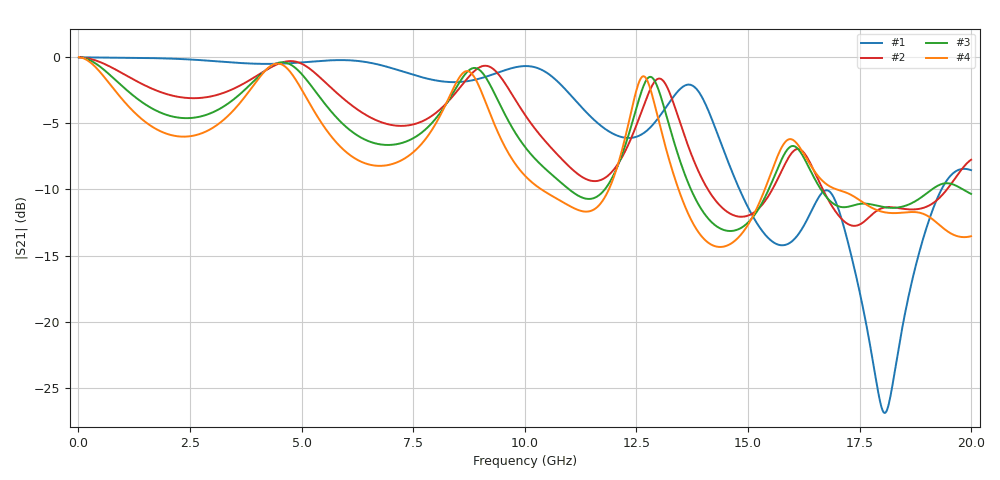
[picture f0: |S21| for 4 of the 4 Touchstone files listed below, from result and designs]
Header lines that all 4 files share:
! TOUCHSTONE file generated by CST MICROWAVE STUDIO
! Project name: Untitled_0.cst
! Parameters = {E4_4=4.4; E4_3=0.85; E4_2=9.925; E4_1=10.075; E3_4=4.25; E3_3=0.85; E3_2=9.7; E3_1=10.3; E2_4=0.85; E2_3=-0.85; E2_2=11.85; E2_1=8.15; y=0.017; x=0; Tr6=-2; Tr5=2; Tr4=11; Tr3=2; Tr2=15; Tr1=-5; g3=3; g2=2; g1=0.15; E1_4=1; E1_3=-1; E1_2=12; E1_1=8; SP3_2_6=3.5; SP3_2_5=3.5; SP3_2_4=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
! Header version: 2018
! Port assignment regex: !\s*Touchstone port\s*([0-9]+)\s*=\s*(CST MWS port|CST DS port)\s*([0-9]+|Zmin|Zmax)\s*\(\"(.*)\"\)(\s*mode\s*([0-9]+))?.*
! Touchstone port assignment:
! Touchstone port 1 = CST MWS port 1 ("")
! Touchstone port 2 = CST MWS port 2 ("")
# GHz S DB R 50
Fixed: E4_4 = 4.4, E4_3 = 0.85, E4_2 = 9.925, E4_1 = 10.075, E3_4 = 4.25, E3_3 = 0.85, E3_2 = 9.7, E3_1 = 10.3, E2_4 = 0.85, E2_3 = -0.85, E2_2 = 11.85, E2_1 = 8.15, y = 0.017, x = 0, Tr6 = -2, Tr5 = 2, Tr4 = 11, Tr3 = 2, Tr2 = 15, Tr1 = -5, g3 = 3, g2 = 2, g1 = 0.15, E1_4 = 1, E1_3 = -1, E1_2 = 12, E1_1 = 8, SP3_2_6 = 3.5, SP3_2_5 = 3.5, SP3_2_4 = 0.5, SP3_2_3 = 2, SP3_2_2 = 1, SP3_2_1 = 9.15, SP3_1_6 = 14.4, SP3_1_5 = 13.4, SP3_1_4 = 12.4, SP3_1_3 = 11.4, SP3_1_2 = 10.4, SP3_1_1 = 9.4, SP10_2 = 8.15
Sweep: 10 MHz to 20 GHz
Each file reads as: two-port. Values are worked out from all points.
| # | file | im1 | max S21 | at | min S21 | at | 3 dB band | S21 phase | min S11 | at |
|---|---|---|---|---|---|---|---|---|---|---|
| 1 | Untitled_0_1.s2p | 0 | 0.00 dB | 10 MHz | -26.9 dB | 18.06 GHz | 10 MHz-11.06 GHz | -144 deg at 9.98 GHz | -75.1 dB | 200 MHz |
| 2 | Untitled_0_3.s2p | 1.2 | 0.00 dB | 10 MHz | -12.8 dB | 17.38 GHz | 2.92 GHz-5.88 GHz | 142 deg at 9.98 GHz | -44.9 dB | 10 MHz |
| 3 | Untitled_0_4.s2p | 1.8 | 0.00 dB | 10 MHz | -13.1 dB | 14.6 GHz | 3.56 GHz-5.4 GHz | 126 deg at 9.98 GHz | -41.3 dB | 10 MHz |
| 4 | Untitled_0_5.s2p | 2.4 | 0.00 dB | 10 MHz | -14.3 dB | 14.38 GHz | 3.74 GHz-5.08 GHz | 117 deg at 9.98 GHz | -39.2 dB | 10 MHz |
